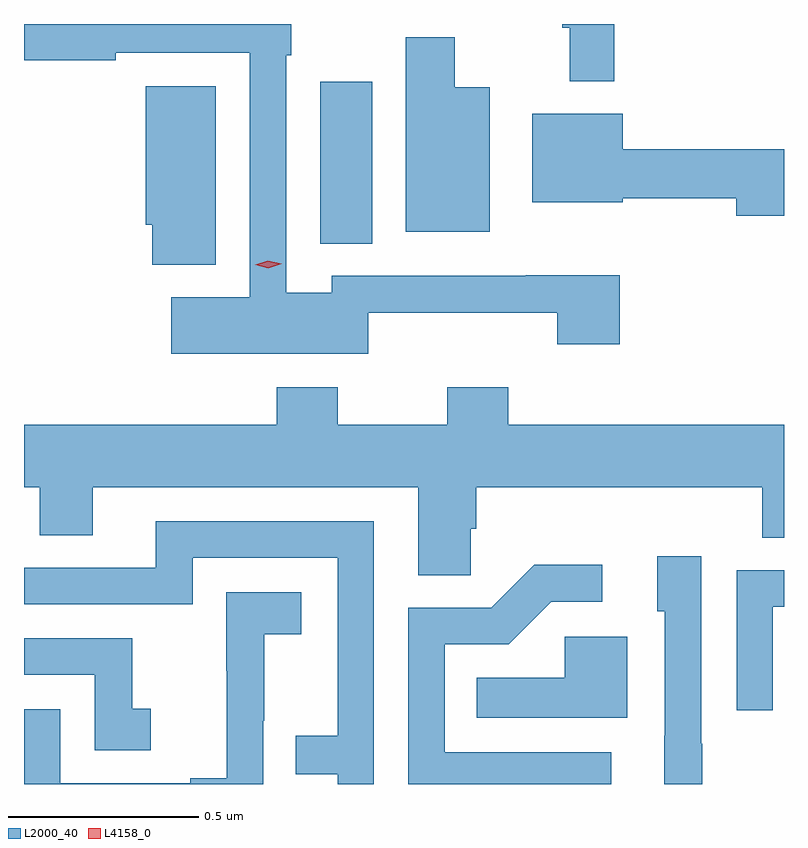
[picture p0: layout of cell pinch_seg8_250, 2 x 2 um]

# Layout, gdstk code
import gdstk
lib = gdstk.Library(unit=1e-6, precision=1e-09)
def R(c, l, rs):  # rectangles x0, y0, x1, y1
    for r in rs: c.add(gdstk.rectangle(r[:2], r[2:], *l))
def P(c, l, *ps):  # polygons
    for p in ps: c.add(gdstk.Polygon(p, *l))
L2000_40 = (2000, 40)
L4158_0 = (4158, 0)

pinch_seg8_250 = lib.new_cell('pinch_seg8_250')
R(pinch_seg8_250, L2000_40, [(770.087,1097.161,770.224,1097.587)])
P(pinch_seg8_250, L2000_40, [(770.861,1097.739),(770.725,1097.739),(770.725,1097.729),(770.744,1097.729),(770.744,1097.589),(770.861,1097.589)],
  [(770.214,1096.979),(770.711,1096.979),(770.711,1096.896),(770.876,1096.896),(770.876,1097.078),(770.629,1097.078),(770.629,1097.076),(770.118,1097.076),(770.118,1097.032),(769.998,1097.032),(769.998,1097.657),(770.011,1097.657),(770.011,1097.739),(769.308,1097.739),(769.308,1097.644),(769.55,1097.644),(769.55,1097.664),(769.902,1097.664),(769.902,1097.02),(769.695,1097.02),(769.695,1096.871),(770.214,1096.871)],
  [(770.533,1097.572),(770.442,1097.572),(770.442,1097.704),(770.312,1097.704),(770.312,1097.192),(770.533,1097.192)],
  [(769.813,1097.575),(769.628,1097.575),(769.628,1097.211),(769.646,1097.211),(769.646,1097.105),(769.813,1097.105)],
  [(771.308,1097.41),(770.884,1097.41),(770.884,1097.503),(770.645,1097.503),(770.645,1097.27),(770.884,1097.27),(770.884,1097.281),(771.182,1097.281),(771.182,1097.234),(771.308,1097.234)],
  [(770.484,1096.411),(770.498,1096.411),(770.498,1096.52),(771.251,1096.52),(771.251,1096.387),(771.308,1096.387),(771.308,1096.684),(770.582,1096.684),(770.582,1096.783),(770.422,1096.783),(770.422,1096.684),(770.133,1096.684),(770.133,1096.783),(769.973,1096.783),(769.973,1096.684),(769.308,1096.684),(769.308,1096.52),(769.35,1096.52),(769.35,1096.393),(769.489,1096.393),(769.489,1096.52),(770.345,1096.52),(770.345,1096.288),(770.484,1096.288)],
  [(770.229,1096.431),(769.655,1096.431),(769.655,1096.308),(769.308,1096.308),(769.308,1096.212),(769.752,1096.212),(769.752,1096.335),(770.133,1096.335),(770.133,1095.866),(770.023,1095.866),(770.023,1095.765),(770.133,1095.765),(770.133,1095.739),(770.229,1095.739)],
  [(771.093,1095.845),(771.09,1095.845),(771.09,1096.339),(770.975,1096.339),(770.975,1096.194),(770.994,1096.194),(770.994,1095.866),(770.993,1095.866),(770.993,1095.739),(771.093,1095.739)],
  [(770.854,1095.822),(770.415,1095.822),(770.415,1096.107),(770.584,1096.107),(770.695,1096.218),(770.83,1096.218),(770.83,1096.316),(770.651,1096.316),(770.538,1096.203),(770.319,1096.203),(770.319,1095.739),(770.854,1095.739)],
  [(771.279,1096.206),(771.308,1096.206),(771.308,1096.302),(771.183,1096.302),(771.183,1095.933),(771.279,1095.933)],
  [(769.938,1095.905),(769.94,1095.905),(769.94,1096.133),(770.038,1096.133),(770.038,1096.243),(769.84,1096.243),(769.84,1096.037),(769.841,1096.037),(769.841,1095.754),(769.745,1095.754),(769.745,1095.741),(769.404,1095.741),(769.404,1095.936),(769.308,1095.936),(769.308,1095.739),(769.938,1095.739)],
  [(770.896,1096.126),(770.731,1096.126),(770.731,1096.018),(770.5,1096.018),(770.5,1095.914),(770.896,1095.914)],
  [(769.642,1095.937),(769.593,1095.937),(769.593,1096.122),(769.308,1096.122),(769.308,1096.026),(769.494,1096.026),(769.494,1095.828),(769.642,1095.828)])
P(pinch_seg8_250, L4158_0, [(769.951,1097.096),(769.916,1097.105),(769.916,1097.105),(769.916,1097.105),(769.95,1097.116),(769.986,1097.108),(769.986,1097.108),(769.986,1097.108)])

lib.write_gds('pinch_seg8_250.gds')
